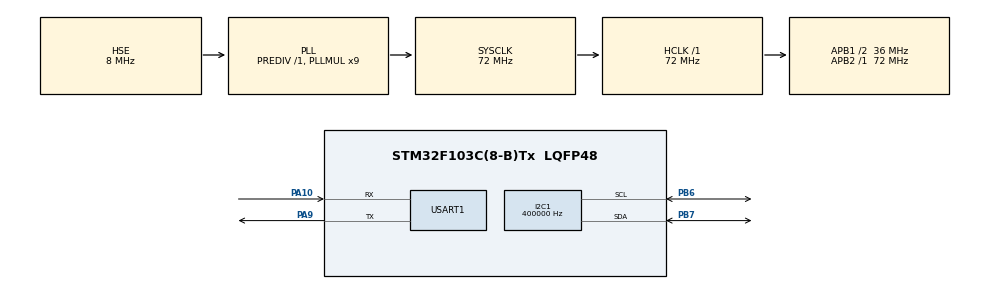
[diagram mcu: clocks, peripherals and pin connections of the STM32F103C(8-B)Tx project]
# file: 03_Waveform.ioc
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Mcu.Family=STM32F1
Mcu.Name=STM32F103C(8-B)Tx
Mcu.Package=LQFP48
NVIC.PriorityGroup=NVIC_PRIORITYGROUP_4
NVIC.TIM2_IRQn=true\:0\:0\:false\:false\:true\:true\:true\:true
NVIC.USART1_IRQn=true\:0\:0\:false\:false\:true\:true\:true\:true
PA10.Mode=Asynchronous
PA10.Signal=USART1_RX
PA13.Mode=Serial_Wire
PA13.Signal=SYS_JTMS-SWDIO
PA14.Mode=Serial_Wire
PA14.Signal=SYS_JTCK-SWCLK
PA9.Mode=Asynchronous
PA9.Signal=USART1_TX
PB6.Mode=I2C
PB6.Signal=I2C1_SCL
PB7.Mode=I2C
PB7.Signal=I2C1_SDA
PD0-OSC_IN.Mode=HSE-External-Oscillator
PD0-OSC_IN.Signal=RCC_OSC_IN
PD1-OSC_OUT.Mode=HSE-External-Oscillator
PD1-OSC_OUT.Signal=RCC_OSC_OUT
ProjectManager.HeapSize=0x200
ProjectManager.StackSize=0x400
ProjectManager.TargetToolchain=Makefile
RCC.AHBFreq_Value=72000000
RCC.APB1CLKDivider=RCC_HCLK_DIV2
RCC.APB1Freq_Value=36000000
RCC.APB1TimFreq_Value=72000000
RCC.APB2Freq_Value=72000000
RCC.APB2TimFreq_Value=72000000
RCC.HCLKFreq_Value=72000000
RCC.PLLMUL=RCC_PLL_MUL9
RCC.PLLSourceVirtual=RCC_PLLSOURCE_HSE
RCC.SYSCLKFreq_VALUE=72000000
RCC.SYSCLKSource=RCC_SYSCLKSOURCE_PLLCLK
RCC.USBFreq_Value=72000000
I2C1.ClockSpeed=400000
TIM2.Period=999
TIM2.Prescaler=71
USART1.VirtualMode=VM_ASYNC
VP_TIM2_VS_ClockSourceINT.Mode=Internal
board=custom

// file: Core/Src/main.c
/* USER CODE BEGIN Header */
/**
  ******************************************************************************
  * @file           : main.c
  * @brief          : Main program body
  ******************************************************************************
  * @attention
  *
  * Copyright (c) 2026 STMicroelectronics.
  * All rights reserved.
  *
  * This software is licensed under terms that can be found in the LICENSE file
  * in the root directory of this software component.
  * If no LICENSE file comes with this software, it is provided AS-IS.
  *
  ******************************************************************************
  */
/* USER CODE END Header */
#include "main.h"

/* USER CODE BEGIN Includes */
#include <stdio.h>
#include "OLED.h"
#include <math.h>
/* USER CODE END Includes */

I2C_HandleTypeDef hi2c1;

TIM_HandleTypeDef htim2;

UART_HandleTypeDef huart1;

/* USER CODE BEGIN PV */
volatile uint8_t rx_byte = 0;
volatile uint8_t current_wave ='1';
//首先定义波形的控制变量，用之前学过的volitale表示易变
volatile uint8_t rx_cmd = '1';
//然后定义中断相关的变量
volatile uint8_t rx_flag  =0;
//定时器所处理的变量
volatile uint8_t update_flag =0;
//时间累加
volatile uint32_t time_count =0;
//振幅
float amplitude =1.0f;
//OLED 是否探测到的标志：1=屏幕可用，0=没找到就跳过显示（避免卡住波形）
uint8_t oled_ok = 0;
/* USER CODE END PV */

void SystemClock_Config(void);
static void MX_GPIO_Init(void);
static void MX_I2C1_Init(void);
static void MX_TIM2_Init(void);
static void MX_USART1_UART_Init(void);

/* USER CODE BEGIN 0 */
//JustFloat协议
void Send_VOFA_Float(float data){
  uint8_t tx_buf[8];//准备八个字节，拆浮点数
  uint8_t *p =(uint8_t*)&data;
  tx_buf[0] = p[0];
  tx_buf[1] = p[1];
  tx_buf[2] = p[2];
  tx_buf[3] = p[3];
  //帧尾
  tx_buf[4] = 0x00;
  tx_buf[5] = 0x00;
  tx_buf[6] = 0x80;
  tx_buf[7] = 0x7f;
  //函数与外界交互，把数据发出去
  HAL_UART_Transmit(&huart1,tx_buf,8,100);

}

/* USER CODE END 0 */

int main(void)
{

  /* MCU Configuration--------------------------------------------------------*/

  /* Reset of all peripherals, Initializes the Flash interface and the Systick. */
  HAL_Init();

  /* Configure the system clock */
  SystemClock_Config();

  /* Initialize all configured peripherals */
  MX_GPIO_Init();
  MX_I2C1_Init();
  MX_TIM2_Init();
  MX_USART1_UART_Init();
  /* USER CODE BEGIN 2 */
  // 探测 OLED 地址：0x78 或 0x7A，哪个应答就用哪个；都没有就跳过显示
  if (HAL_I2C_IsDeviceReady(&hi2c1, 0x78, 3, 50) == HAL_OK)
  {
    OLED_I2C_ADDRESS = 0x78;
    oled_ok = 1;
  }
  else if (HAL_I2C_IsDeviceReady(&hi2c1, 0x7A, 3, 50) == HAL_OK)
  {
    OLED_I2C_ADDRESS = 0x7A;
    oled_ok = 1;
  }

  if (oled_ok)
  {
    OLED_init();//初始化屏幕
    OLED_operate_gram(PEN_CLEAR);//清空屏幕
    OLED_show_string(1,1,(uint8_t*)"Sine");
    OLED_refresh_gram();//刷新到屏幕
  }

  HAL_TIM_Base_Start_IT(&htim2);//启动定时器2
  HAL_UART_Receive_IT(&huart1,(uint8_t*)&rx_cmd,1);//启动串口接收

  /* USER CODE END 2 */

  /* Infinite loop */
  while (1)
  {

    /* USER CODE BEGIN 3 */
if(rx_flag==1){
  rx_flag=0;
  time_count =0;
  if (oled_ok)
  {
    OLED_operate_gram(PEN_CLEAR);//处理中断
    if(current_wave=='1'){
      OLED_show_string(1,1,(uint8_t*)"Sine");
    }else if(current_wave=='2'){
      OLED_show_string(1,1,(uint8_t*)"Sawtooth");
    }else if(current_wave=='3'){
      OLED_show_string(1,1,(uint8_t*)"Square");
    }
    OLED_refresh_gram();//刷新屏幕
  }

}
//定时器对应变量
if(update_flag ==1){
  update_flag =0;

  float t = time_count/1000.0f;//把毫秒换算成秒
  float y =0.0f;//存放结果

  if(current_wave=='1'){
    y =2.0f*sinf(2.0f*3.1415926f*t);
  }
  //锯齿波
  else if(current_wave =='2'){
    float ph =fmodf(t,0.5f)/0.5f;//周期
    y = 2.0f*ph-1.0f;//好麻烦，但是用f转化位浮点数算起来更快
  }
  else if(current_wave =='3')
  {
    float ph =fmodf(t,1.5f);
    if(ph <0.75f){
      y =0.5f;
    }else{
      y = -0.5f;
    }

  }
   Send_VOFA_Float(y);
}

  }
  /* USER CODE END 3 */
}

void SystemClock_Config(void)
{
  RCC_OscInitTypeDef RCC_OscInitStruct = {0};
  RCC_ClkInitTypeDef RCC_ClkInitStruct = {0};

  /** Initializes the RCC Oscillators according to the specified parameters
  * in the RCC_OscInitTypeDef structure.
  */
  RCC_OscInitStruct.OscillatorType = RCC_OSCILLATORTYPE_HSE;
  RCC_OscInitStruct.HSEState = RCC_HSE_ON;
  RCC_OscInitStruct.HSEPredivValue = RCC_HSE_PREDIV_DIV1;
  RCC_OscInitStruct.HSIState = RCC_HSI_ON;
  RCC_OscInitStruct.PLL.PLLState = RCC_PLL_ON;
  RCC_OscInitStruct.PLL.PLLSource = RCC_PLLSOURCE_HSE;
  RCC_OscInitStruct.PLL.PLLMUL = RCC_PLL_MUL9;
  if (HAL_RCC_OscConfig(&RCC_OscInitStruct) != HAL_OK)
  {
    Error_Handler();
  }

  /** Initializes the CPU, AHB and APB buses clocks
  */
  RCC_ClkInitStruct.ClockType = RCC_CLOCKTYPE_HCLK|RCC_CLOCKTYPE_SYSCLK
                              |RCC_CLOCKTYPE_PCLK1|RCC_CLOCKTYPE_PCLK2;
  RCC_ClkInitStruct.SYSCLKSource = RCC_SYSCLKSOURCE_PLLCLK;
  RCC_ClkInitStruct.AHBCLKDivider = RCC_SYSCLK_DIV1;
  RCC_ClkInitStruct.APB1CLKDivider = RCC_HCLK_DIV2;
  RCC_ClkInitStruct.APB2CLKDivider = RCC_HCLK_DIV1;

  if (HAL_RCC_ClockConfig(&RCC_ClkInitStruct, FLASH_LATENCY_2) != HAL_OK)
  {
    Error_Handler();
  }
}

static void MX_I2C1_Init(void)
{

  hi2c1.Instance = I2C1;
  hi2c1.Init.ClockSpeed = 400000;
  hi2c1.Init.DutyCycle = I2C_DUTYCYCLE_2;
  hi2c1.Init.OwnAddress1 = 0;
  hi2c1.Init.AddressingMode = I2C_ADDRESSINGMODE_7BIT;
  hi2c1.Init.DualAddressMode = I2C_DUALADDRESS_DISABLE;
  hi2c1.Init.OwnAddress2 = 0;
  hi2c1.Init.GeneralCallMode = I2C_GENERALCALL_DISABLE;
  hi2c1.Init.NoStretchMode = I2C_NOSTRETCH_DISABLE;
  if (HAL_I2C_Init(&hi2c1) != HAL_OK)
  {
    Error_Handler();
  }

}

static void MX_TIM2_Init(void)
{

  TIM_ClockConfigTypeDef sClockSourceConfig = {0};
  TIM_MasterConfigTypeDef sMasterConfig = {0};

  htim2.Instance = TIM2;
  htim2.Init.Prescaler = 71;
  htim2.Init.CounterMode = TIM_COUNTERMODE_UP;
  htim2.Init.Period = 999;
  htim2.Init.ClockDivision = TIM_CLOCKDIVISION_DIV1;
  htim2.Init.AutoReloadPreload = TIM_AUTORELOAD_PRELOAD_DISABLE;
  if (HAL_TIM_Base_Init(&htim2) != HAL_OK)
  {
    Error_Handler();
  }
  sClockSourceConfig.ClockSource = TIM_CLOCKSOURCE_INTERNAL;
  if (HAL_TIM_ConfigClockSource(&htim2, &sClockSourceConfig) != HAL_OK)
  {
    Error_Handler();
  }
  sMasterConfig.MasterOutputTrigger = TIM_TRGO_RESET;
  sMasterConfig.MasterSlaveMode = TIM_MASTERSLAVEMODE_DISABLE;
  if (HAL_TIMEx_MasterConfigSynchronization(&htim2, &sMasterConfig) != HAL_OK)
  {
    Error_Handler();
  }

}

static void MX_USART1_UART_Init(void)
{

  huart1.Instance = USART1;
  huart1.Init.BaudRate = 115200;
  huart1.Init.WordLength = UART_WORDLENGTH_8B;
  huart1.Init.StopBits = UART_STOPBITS_1;
  huart1.Init.Parity = UART_PARITY_NONE;
  huart1.Init.Mode = UART_MODE_TX_RX;
  huart1.Init.HwFlowCtl = UART_HWCONTROL_NONE;
  huart1.Init.OverSampling = UART_OVERSAMPLING_16;
  if (HAL_UART_Init(&huart1) != HAL_OK)
  {
    Error_Handler();
  }

}

static void MX_GPIO_Init(void)
{

  /* GPIO Ports Clock Enable */
  __HAL_RCC_GPIOD_CLK_ENABLE();
  __HAL_RCC_GPIOA_CLK_ENABLE();
  __HAL_RCC_GPIOB_CLK_ENABLE();

}

/* USER CODE BEGIN 4 */
void HAL_TIM_PeriodElapsedCallback(TIM_HandleTypeDef *htim)
{
    if (htim->Instance == TIM2)
    {
        time_count++;

        if ((time_count % 10) == 0)
        {

            update_flag = 1;
        }
  }
 }

void HAL_UART_RxCpltCallback(UART_HandleTypeDef *huart)
{
    if (huart->Instance == USART1)
    {
        if (rx_cmd == '1'|| rx_cmd == '2'|| rx_cmd == '3')
        {
            current_wave = rx_cmd;

            rx_flag = 1;
        }
        HAL_UART_Receive_IT(huart, (uint8_t *)&rx_cmd, 1);
    }
}

/* USER CODE END 4 */

void Error_Handler(void)
{
  __disable_irq();
  while (1)
  {
  }
}
